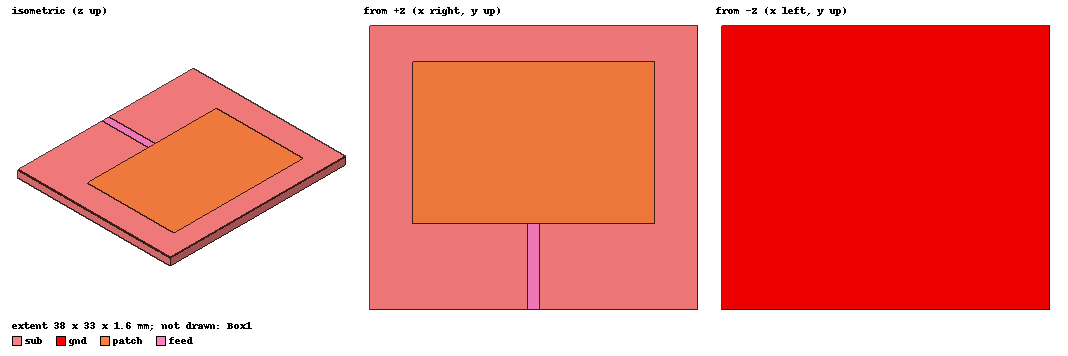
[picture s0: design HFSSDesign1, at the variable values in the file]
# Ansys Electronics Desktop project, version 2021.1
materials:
  vacuum: permittivity=1
  FR4_epoxy: permittivity=4.4 dielectric_loss_tangent=0.02
  air: permittivity=1.0006 permeability=1.0000004

design HFSSDesign1 (HFSS, DrivenModal, model units mm)
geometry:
  gnd = rectangle(corner=(0mm, 0mm, 0mm), x_size=38mm, y_size=33mm)
  sub [FR4_epoxy] = box(corner=(0mm, 0mm, 0mm), size=(38mm, 33mm, 1.6mm))
  feed = rectangle(corner=(18.25mm, 0mm, 1.6mm), x_size=1.5mm, y_size=10mm)
  patch = rectangle(corner=(5mm, 10mm, 1.6mm), x_size=28mm, y_size=18.8mm)
  port = rectangle(corner=(18.25mm, 0mm, 1.6mm), z_size=-1.6mm, x_size=1.5mm)
  Box1 [air] = box(corner=(-10mm, -10mm, -10mm), size=(60mm, 70mm, 40mm))
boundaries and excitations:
  PerfE1: Perfect E Objects=[feed, gnd, patch]
  Rad1: Radiation Objects=Box1
  1: Lumped Port Objects=port Modes{Mode1{IntLine{middle of port.edge(z opposite corner) -> middle of port.edge(z at corner)} CharImp=Zpi RenormImp=50ohm}} Impedance=50ohm
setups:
  Setup1: HfssDriven Frequency=5GHz MaxDeltaS=0.02 MaximumPasses=15 MinimumPasses=1 MinimumConvergedPasses=1 PercentRefinement=30 BasisOrder=1 PortAccuracy=2
    sweep Sweep: 2.5GHz to 4.5GHz, 201 points; Type=Interpolating SaveFields SaveRadFields InterpTolerance=0.5 InterpMaxSolns=250 InterpUsePortImped=false PassivityErrorTolerance=0.0001
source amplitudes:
  1:1: 1W 0deg
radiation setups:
  Infinite Sphere1: Infinite Sphere Theta=0deg..360deg step 10deg Phi=0deg..360deg step 10deg
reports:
  S Parameter Plot 1: dB(S(1,1)) vs Freq on Setup1 : Sweep; markers m1 at 3.55GHz, m2 at 3.4897937GHz, m3 at 3.6127872GHz, MY1 at y=-10
  VSWR Plot 1: VSWR(1) vs Freq on Setup1 : Sweep; markers m1 at 3.55GHz
  rE Plot 1: dB(rETotal) vs Theta on Setup1 : Sweep, Infinite Sphere1 [Phi=0deg Freq=3.5GHz]
  rE Plot 2: dB(rETotal) vs Theta on Setup1 : Sweep, Infinite Sphere1 [Phi=90deg Freq=3.5GHz]
  Gain Plot 1: dB(GainTotal) vs Freq on Setup1 : Sweep, Infinite Sphere1 [Phi=0deg Theta=0deg]; markers m1 at 3.5GHz
